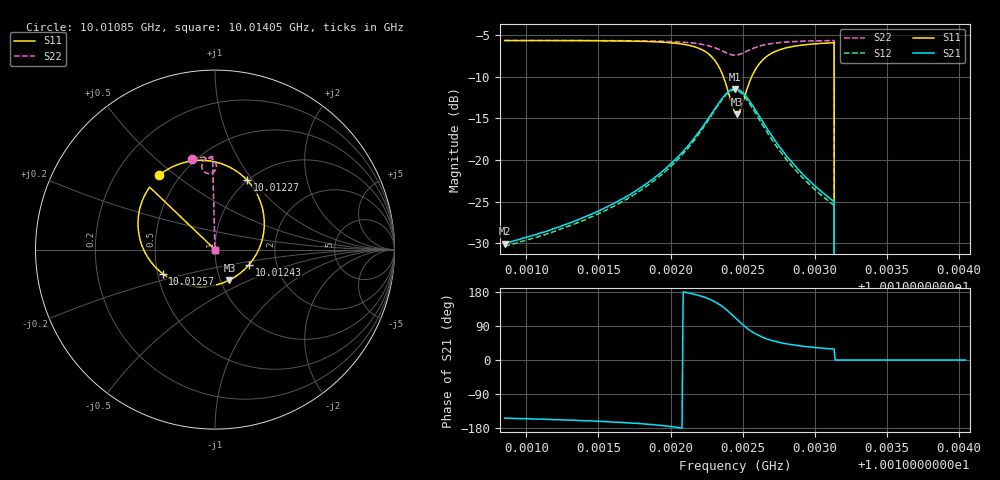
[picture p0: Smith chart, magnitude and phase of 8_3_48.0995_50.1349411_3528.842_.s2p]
#  HZ  S  RI  R  50.00
! Rohde & Schwarz Vector Network Analyzer
! Rohde-Schwarz,ZNB20-2Port,1311601062101988,3.16
! Created: UTC 12/23/2023, 3:35:23 AM
! freq[Hz]  re:S11  im:S11  re:S21  im:S21  re:S12  im:S12  re:S22  im:S22
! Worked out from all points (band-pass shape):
!   401 points, 10.01085 GHz to 10.01405 GHz, reference 50 ohm
!   highest |S21| = -11.48 dB at 10.01245 GHz (marker M1); lowest = -30.0 dB at 10.01085 GHz (marker M2)
!   |S21| within 3 dB of the highest: 10.01228 GHz to 10.01261 GHz (320.9 kHz wide, 0.0032 % of centre)
!   lowest |S11| = -14.5 dB at 10.01246 GHz (marker M3), VSWR 1.46, Z = 55.1 - j19.4 ohm
!   |S11| at or under -10 dB: 10.01237 GHz to 10.01256 GHz (197.8 kHz wide, 0.00198 % of centre); 10.01313 GHz to end of sweep
!   |S22| runs from - to -5.7 dB; largest |S21 - S12| = 0.012
!   S11 on the Smith chart (normalised r, x): 10.01085 GHz: 0.39, +0.44; 10.01227 GHz: 0.99, +0.94; 10.01243 GHz: 1.44, -0.25; 10.01257 GHz: 0.53, -0.16; 10.01405 GHz: 1.00, +0.00
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1.0010849e10  -0.3096 0.4171  -0.0282 -0.0142  -0.0264 -0.0152  -0.1272 0.5043
1.0011385e10  -0.2506 0.4545  -0.0421 -0.0152  -0.0396 -0.0169  -0.0892 0.512
1.0011656e10  -0.2024 0.4759  -0.0558 -0.0153  -0.0528 -0.0174  -0.0677 0.5142
1.001192e10  -0.1212 0.4951  -0.0813 -0.0112  -0.0778 -0.0154  -0.0425 0.5132
1.0012144e10  0.0243 0.4824  -0.1279 0.00993  -0.1245 0.00274  -0.0141 0.5032
1.0012272e10  0.1783 0.3874  -0.1711 0.0612  -0.1708 0.051  0.00442 0.4816
1.0012319e10  0.2411 0.2952  -0.1833 0.1018  -0.1855 0.0905  0.00789 0.466
1.0012367e10  0.2746 0.1524  -0.1806 0.1565  -0.1843 0.1475  0.00368 0.4467
1.0012399e10  0.2567 0.0335  -0.1607 0.1987  -0.166 0.1902  -0.00622 0.4336
1.0012431e10  0.1899 -0.0842  -0.1237 0.2351  -0.1295 0.2272  -0.0215 0.4255
1.0012447e10  0.1394 -0.1324  -0.1 0.2473  -0.1057 0.2401  -0.0303 0.4238
1.0012463e10  0.0803 -0.1698  -0.0751 0.2549  -0.0803 0.2479  -0.0395 0.4242
1.0012511e10  -0.1172 -0.2046  0.000901 0.2479  -0.00363 0.2406  -0.0626 0.4365
1.0012567e10  -0.2923 -0.1336  0.059 0.2049  0.052 0.1982  -0.0733 0.4586
1.0012623e10  -0.3832 -0.0285  0.0821 0.1582  0.0741 0.1534  -0.0724 0.4775
1.0012695e10  -0.4241 0.0869  0.0872 0.1127  0.0791 0.1103  -0.0643 0.4936
1.0012815e10  -0.4229 0.2106  0.0767 0.069  0.0704 0.0683  -0.0482 0.5076
1.0012983e10  -0.392 0.3021  0.0603 0.04  0.0556 0.0406  -0.0291 0.5159
1.0013118e10  -0.3673 0.3444  0.0501 0.0285  0.0464 0.0291  -0.0156 0.519
1.0013158e10  0 0  0 0  0 0  0 0
1.0013518e10  0 0  0 0  0 0  0 0
1.0014045e10  0 0  0 0  0 0  0 0
